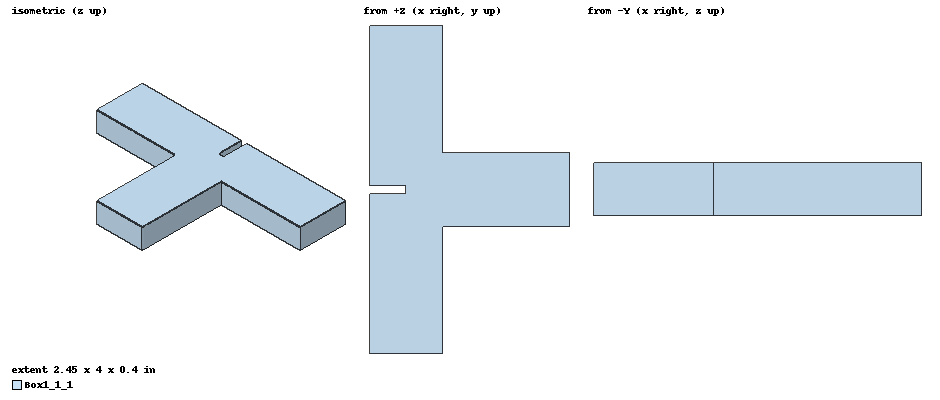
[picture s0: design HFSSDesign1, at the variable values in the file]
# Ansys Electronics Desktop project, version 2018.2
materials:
  vacuum: permittivity=1

design HFSSDesign1 (HFSS, DrivenModal, model units in)
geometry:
  Box1 = box(corner=(0in, -0.45in, 0in), size=(2in, 0.9in, 0.4in))
  Box1_1 = Box1.duplicate_around_axis(axis=Z, angle=90deg, total=2)
  Box1_1_1 [vacuum] = Box1_1.duplicate_around_axis(axis=Z, angle=180deg, total=2)
  Box1_1_1.unite(Box1_1, Box1)
  Box2 = box(corner=(-0.45in, -0.05in, 0in), size=(0.45in, 0.1in, 0.4in))
  Box1_1_1.subtract(Box2)
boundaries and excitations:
  1: Wave Port Faces=Box1_1_1.face(6 of 6) NumModes=1 Modes{Mode1{IntLine{middle of Box1_1_1.edge(5 of 12) -> middle of Box1_1_1.edge(1 of 12)} CharImp=Zpi}}
  2: Wave Port Faces=Box1_1_1.face(6 of 6) NumModes=1 Modes{Mode1{IntLine{middle of Box1_1_1.edge(5 of 12) -> middle of Box1_1_1.edge(1 of 12)} CharImp=Zpi}}
  3: Wave Port Faces=Box1_1_1.face(6 of 6) NumModes=1 Modes{Mode1{IntLine{middle of Box1_1_1.edge(5 of 12) -> middle of Box1_1_1.edge(1 of 12)} CharImp=Zpi}}
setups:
  Setup1: HfssDriven Frequency=10GHz MaxDeltaS=0.02 MaximumPasses=6 MinimumPasses=3 MinimumConvergedPasses=1 PercentRefinement=30 BasisOrder=1 PortAccuracy=2
    sweep Sweep: 8GHz to 10GHz, 401 points; Type=Interpolating InterpTolerance=0.5 InterpMaxSolns=250 InterpUsePortImped=false PassivityErrorTolerance=0.0001
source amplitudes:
  1:1: 1W 0deg
  2:1, 3:1: 0W 0deg
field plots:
  Mag_E1: E Field over Box1_1_1.face(1 of 6) on Setup1 : LastAdaptive at Freq=10GHz Phase=0deg
